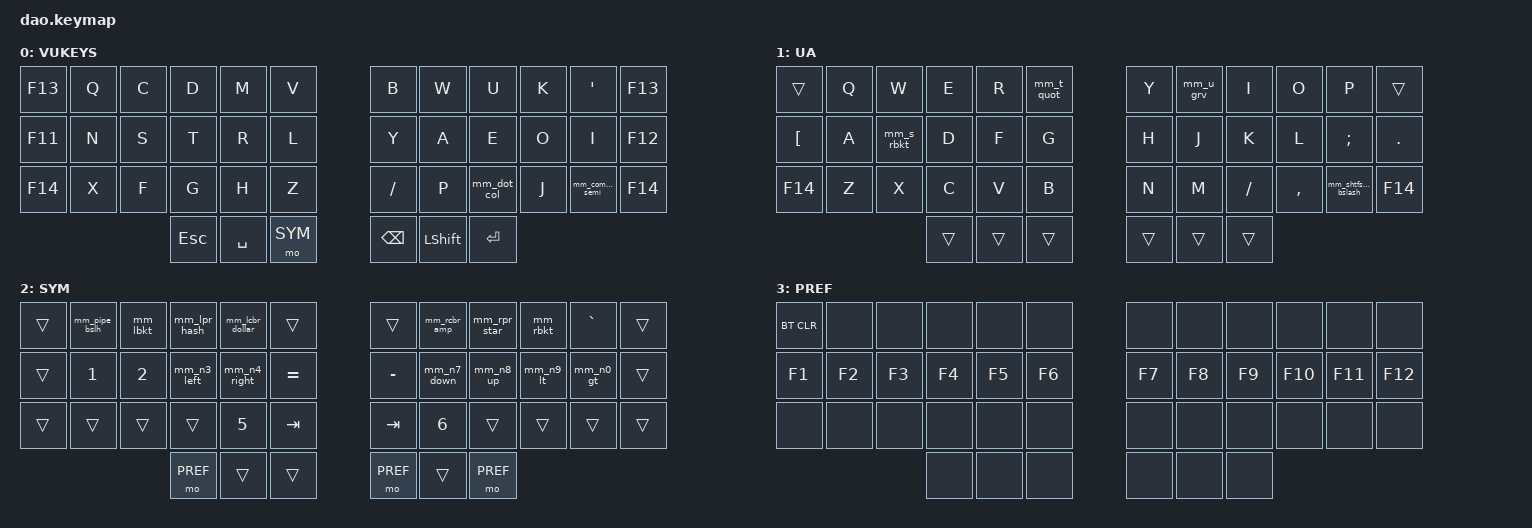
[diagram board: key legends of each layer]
/*
 * Copyright (c) 2021 Rafael Yumagulov
 *
 * SPDX-License-Identifier: MIT
 */

#include <behaviors.dtsi>
#include <dt-bindings/zmk/keys.h>
#include <dt-bindings/zmk/bt.h>

#define VUKEYS 0
#define UA 1
#define SYM 2
#define PREF 3

/*
 * &lt { quick_tap_ms = <200>; };
 * &mt { quick_tap_ms = <200>; };
*/

/ {
    chosen {
        zmk,matrix_transform = &default_transform;
        // zmk,matrix_transform = &extra_keys_transform;
    };
};

/ {
        behaviors {
          #include "modmorph.dtsi"
          #include "modtap.dtsi"
        };
        combos {
          #include "combos.dtsi"
        };
        macros {
          #include "macros.dtsi"
        };
        keymap {
                compatible = "zmk,keymap";

          VUKEYS {
            bindings = <
              // ╭───────────┬───────────┬───────────┬───────────┬───────────┬───────────╮  ╭───────────┬───────────┬───────────┬───────────┬───────────┬───────────╮
                    &kp F13     &kp Q       &kp C       &kp D       &kp M       &kp V          &kp B       &kp W       &kp U       &kp K       &kp SQT     &kp F13
              // ├───────────┼───────────┼───────────┼───────────┼───────────┼───────────┤  ├───────────┼───────────┼───────────┼───────────┼───────────┼───────────┤
                    &kp F11     &kp N       &kp S       &kp T       &kp R       &kp L          &kp Y       &kp A       &kp E       &kp O       &kp I       &kp F12
              // ├───────────┼───────────┼───────────┼───────────┼───────────┼───────────┤  ├───────────┼───────────┼───────────┼───────────┼───────────┼───────────┤
                    &kp F14     &kp X       &kp F       &kp G       &kp H       &kp Z          &kp SLASH   &kp P     &mm_dot_col   &kp J     &mm_comma_semi &kp F14
              // ╰───────────┴───────────┴───────────┼───────────┼───────────┼───────────┤  ├───────────┼───────────┼───────────┼───────────┴───────────┴───────────╯
                                                        &kp ESC     &kp SPC     &mo SYM        &kp BSPC    &kp LSHIFT  &kp RET
              //                                     ╰───────────┴───────────┴───────────╯  ╰───────────┴───────────┴───────────╯
            >;
          };

          UA {
            bindings = <
              // ╭───────────┬───────────┬───────────┬───────────┬───────────┬───────────╮  ╭───────────┬───────────┬───────────┬───────────┬───────────┬───────────╮
                    &trans      &kp Q       &kp W       &kp E       &kp R       &mm_t_quot     &kp Y       &mm_u_grv   &kp I       &kp O       &kp P       &trans
              // ├───────────┼───────────┼───────────┼───────────┼───────────┼───────────┤  ├───────────┼───────────┼───────────┼───────────┼───────────┼───────────┤
                    &kp LBKT    &kp A       &mm_s_rbkt  &kp D       &kp F       &kp G          &kp H       &kp J       &kp K       &kp L       &kp SEMI    &kp DOT
              // ├───────────┼───────────┼───────────┼───────────┼───────────┼───────────┤  ├───────────┼───────────┼───────────┼───────────┼───────────┼───────────┤
                    &kp F14     &kp Z       &kp X       &kp C       &kp V       &kp B          &kp N       &kp M       &kp SLASH   &kp COMMA &mm_shtfslash_bslash &kp F14
              // ╰───────────┴───────────┴───────────┼───────────┼───────────┼───────────┤  ├───────────┼───────────┼───────────┼───────────┴───────────┴───────────╯
                                                        &trans      &trans      &trans         &trans      &trans      &trans
              //                                     ╰───────────┴───────────┴───────────╯  ╰───────────┴───────────┴───────────╯
            >;
          };

          SYM {
            bindings = <
              // ╭───────────┬───────────┬───────────┬───────────┬───────────┬───────────╮  ╭───────────┬───────────┬───────────┬───────────┬───────────┬───────────╮
                    &trans    &mm_pipe_bslh &mm_lbkt  &mm_lpr_hash &mm_lcbr_dollar &trans      &trans    &mm_rcbr_amp &mm_rpr_star &mm_rbkt   &kp GRAVE    &trans
              // ├───────────┼───────────┼───────────┼───────────┼───────────┼───────────┤  ├───────────┼───────────┼───────────┼───────────┼───────────┼───────────┤
                    &trans      &kp N1      &kp N2    &mm_n3_left &mm_n4_right  &kp EQUAL      &kp MINUS &mm_n7_down  &mm_n8_up    &mm_n9_lt  &mm_n0_gt    &trans
              // ├───────────┼───────────┼───────────┼───────────┼───────────┼───────────┤  ├───────────┼───────────┼───────────┼───────────┼───────────┼───────────┤
                    &trans      &trans      &trans      &trans      &kp N5      &kp TAB        &kp TAB     &kp N6      &trans      &trans      &trans      &trans
              // ╰───────────┴───────────┴───────────┼───────────┼───────────┼───────────┤  ├───────────┼───────────┼───────────┼───────────┴───────────┴───────────╯
                                                        &mo PREF    &trans      &trans         &mo PREF    &trans      &mo PREF
              //                                     ╰───────────┴───────────┴───────────╯  ╰───────────┴───────────┴───────────╯
            >;
          };

          PREF {
            bindings = <
              // ╭───────────┬───────────┬───────────┬───────────┬───────────┬───────────╮  ╭───────────┬───────────┬───────────┬───────────┬───────────┬───────────╮
                    &bt BT_CLR  &none       &none       &none       &none       &none          &none       &none       &none       &none       &none       &none
              // ├───────────┼───────────┼───────────┼───────────┼───────────┼───────────┤  ├───────────┼───────────┼───────────┼───────────┼───────────┼───────────┤
                    &kp F1      &kp F2      &kp F3      &kp F4      &kp F5      &kp F6         &kp F7      &kp F8      &kp F9      &kp F10     &kp F11     &kp F12
              // ├───────────┼───────────┼───────────┼───────────┼───────────┼───────────┤  ├───────────┼───────────┼───────────┼───────────┼───────────┼───────────┤
                    &none       &none       &none       &none       &none       &none          &none       &none       &none       &none       &none       &none
              // ╰───────────┴───────────┴───────────┼───────────┼───────────┼───────────┤  ├───────────┼───────────┼───────────┼───────────┴───────────┴───────────╯
                                                        &none       &none       &none          &none       &none       &none
              //                                     ╰───────────┴───────────┴───────────╯  ╰───────────┴───────────┴───────────╯
            >;
          };
        };
};
